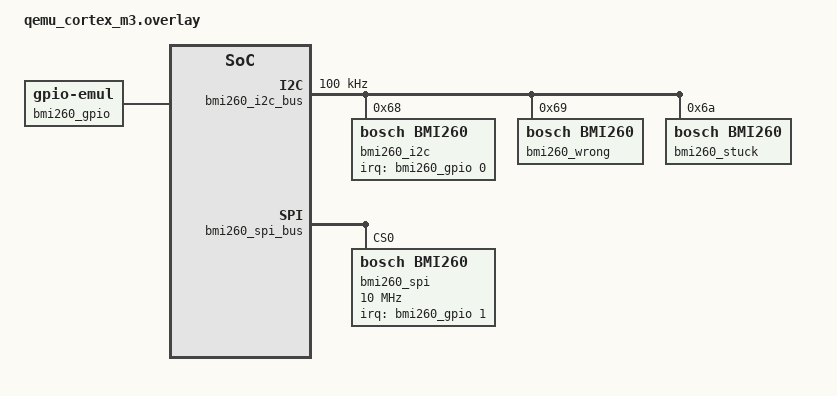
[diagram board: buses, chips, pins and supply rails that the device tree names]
/*
 * Copyright (c) 2026 Shreyas Acharya
 *
 * SPDX-License-Identifier: Apache-2.0
 */

#include <zephyr/dt-bindings/gpio/gpio.h>
#include <zephyr/dt-bindings/i2c/i2c.h>

/*
 * qemu_cortex_m3 has no I2C or SPI controller, and its GPIO controllers are
 * modelled hardware rather than the emulator these tests drive, so this
 * overlay supplies all three. It exists so the suite can run on hosts where
 * native_sim is unavailable.
 */
/ {
	bmi260_i2c_bus: i2c@10000000 {
		compatible = "zephyr,i2c-emul-controller";
		reg = <0x10000000 4>;
		clock-frequency = <I2C_BITRATE_STANDARD>;
		#address-cells = <1>;
		#size-cells = <0>;
		status = "okay";

		bmi260_i2c: bmi260@68 {
			compatible = "bosch,bmi260";
			reg = <0x68>;
			irq-gpios = <&bmi260_gpio 0 GPIO_ACTIVE_HIGH>;
		};

		/*
		 * Stands in for a part that answers with the wrong chip
		 * identifier. Initialization is deferred so a test can set the
		 * identifier before the driver reads it.
		 */
		bmi260_wrong: bmi260@69 {
			compatible = "bosch,bmi260";
			reg = <0x69>;
			zephyr,deferred-init;
		};

		/*
		 * Stands in for a part whose feature engine never reports
		 * that it started. Initialization is deferred so a test can
		 * arrange that before the driver polls for it.
		 */
		bmi260_stuck: bmi260@6a {
			compatible = "bosch,bmi260";
			reg = <0x6a>;
			zephyr,deferred-init;
		};
	};

	bmi260_spi_bus: spi@10000100 {
		compatible = "zephyr,spi-emul-controller";
		reg = <0x10000100 4>;
		#address-cells = <1>;
		#size-cells = <0>;
		status = "okay";

		bmi260_spi: bmi260@0 {
			compatible = "bosch,bmi260";
			reg = <0>;
			spi-max-frequency = <10000000>;
			irq-gpios = <&bmi260_gpio 1 GPIO_ACTIVE_HIGH>;
		};
	};

	bmi260_gpio: gpio_emul {
		compatible = "zephyr,gpio-emul";
		rising-edge;
		falling-edge;
		high-level;
		low-level;
		gpio-controller;
		#gpio-cells = <2>;
		status = "okay";
	};
};
